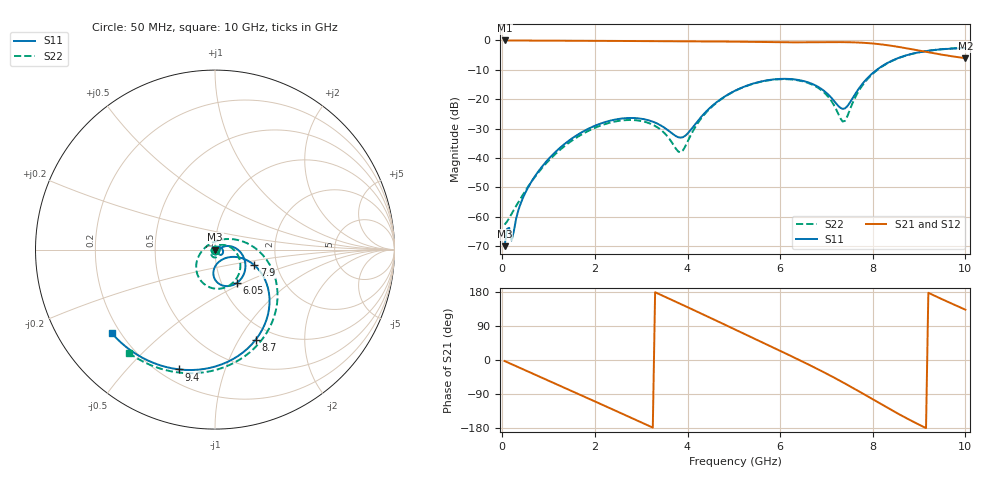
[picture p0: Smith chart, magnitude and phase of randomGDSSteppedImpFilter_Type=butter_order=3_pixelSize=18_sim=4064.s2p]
! freq	dB(S11)	phase(S11)	dB(S12)	phase(S12)
!  dB(S21)	phase(S21)	dB(S22)	phase(S22)
!S-par simulation data
#  GHz  S  DB  R 50
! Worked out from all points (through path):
!   200 points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, 50 MHz to 10 GHz, reference 50 ohm
!   highest |S21| = 0.00 dB at 50 MHz (marker M1); lowest = -6.0 dB at 10 GHz (marker M2)
!   group delay of S21, straight-line fit = 164 ps
!   lowest |S11| = -70.1 dB at 50 MHz (marker M3), VSWR 1.00, Z = 50 + j0.0282 ohm
!   |S11| at or under -10 dB: start of sweep to 8.086 GHz
!   |S22| runs from -62.7 to -2.5 dB; largest |S21 - S12| = 0
!   S11 on the Smith chart (normalised r, x): 50 MHz: 1.00, +0.00; 6.05 GHz: 1.18, -0.46; 7.9 GHz: 1.53, -0.28; 8.7 GHz: 0.82, -1.18; 9.4 GHz: 0.27, -0.71; 10 GHz: 0.17, -0.35
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0.05  -70.05 63.6  -0.00 -2.8  -0.00 -2.8  -62.72 10.0
0.1  -64.22 57.7  -0.01 -5.5  -0.01 -5.5  -61.74 20.5
0.15  -63.80 33.4  -0.02 -8.3  -0.02 -8.3  -60.46 26.7
0.2  -68.13 56.6  -0.02 -11.0  -0.02 -11.0  -59.07 29.4
0.4  -55.39 106.7  -0.04 -21.9  -0.04 -21.9  -53.69 24.5
0.7  -46.35 95.5  -0.05 -38.2  -0.05 -38.2  -46.57 7.8
1.25  -36.50 64.4  -0.08 -68.3  -0.08 -68.3  -37.21 -17.3
1.75  -30.96 33.3  -0.11 -95.6  -0.11 -95.6  -31.69 -39.5
2.65  -26.48 -19.2  -0.18 -145.1  -0.18 -145.1  -27.15 -85.1
3.4  -28.75 -48.4  -0.24 173.2  -0.24 173.2  -30.15 -134.3
3.85  -33.10 -20.0  -0.27 147.9  -0.27 147.9  -38.11 130.6
4.4  -24.24 18.3  -0.32 116.6  -0.32 116.6  -24.56 25.4
5.05  -16.93 -5.8  -0.43 79.1  -0.43 79.1  -17.00 -18.8
6.05  -13.08 -56.3  -0.63 21.3  -0.63 21.3  -13.18 -79.6
6.7  -14.85 -86.7  -0.62 -17.2  -0.62 -17.2  -15.10 -122.3
7.05  -18.60 -93.8  -0.57 -39.1  -0.57 -39.1  -19.42 -153.5
7.35  -23.32 -60.8  -0.57 -58.7  -0.57 -58.7  -27.61 128.0
7.9  -12.58 -21.6  -0.91 -96.7  -0.91 -96.7  -12.93 1.8
8.35  -7.38 -44.7  -1.69 -128.4  -1.69 -128.4  -7.50 -34.3
8.7  -5.18 -65.7  -2.59 -151.8  -2.59 -151.8  -5.24 -58.5
9.4  -3.14 -106.7  -4.60 165.8  -4.60 165.8  -3.12 -99.7
10  -2.61 -141.0  -6.03 132.8  -6.03 132.8  -2.51 -129.8
